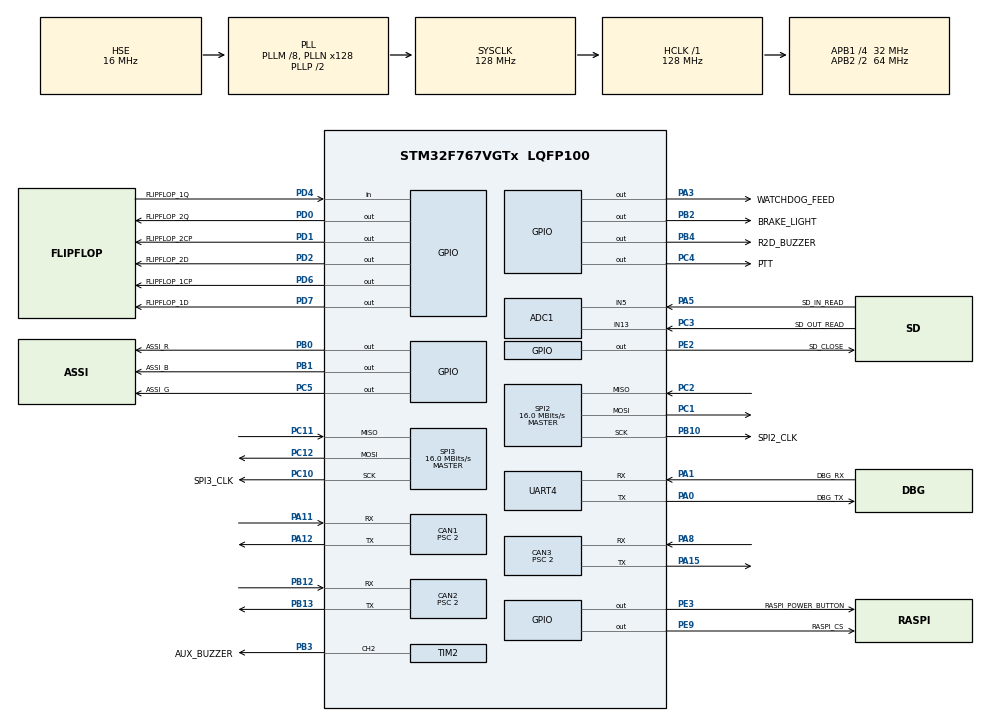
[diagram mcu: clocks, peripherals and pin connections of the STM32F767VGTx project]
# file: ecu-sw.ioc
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ADC1.Channel-5\#ChannelRegularConversion=ADC_CHANNEL_5
ADC1.Channel-6\#ChannelRegularConversion=ADC_CHANNEL_13
ADC1.NbrOfConversion=2
ADC1.NbrOfConversionFlag=1
ADC1.Rank-5\#ChannelRegularConversion=1
ADC1.Rank-6\#ChannelRegularConversion=2
ADC1.SamplingTime-5\#ChannelRegularConversion=ADC_SAMPLETIME_15CYCLES
ADC1.SamplingTime-6\#ChannelRegularConversion=ADC_SAMPLETIME_15CYCLES
ADC1.ScanConvMode=ADC_SCAN_ENABLE
ADC1.master=1
CAN1.BS1=CAN_BS1_13TQ
CAN1.BS2=CAN_BS2_2TQ
CAN1.CalculateBaudRate=1000000
CAN1.CalculateTimeBit=1000
CAN1.CalculateTimeQuantum=62.5
CAN1.Prescaler=2
CAN2.BS1=CAN_BS1_13TQ
CAN2.BS2=CAN_BS2_2TQ
CAN2.CalculateBaudRate=1000000
CAN2.CalculateTimeBit=1000
CAN2.CalculateTimeQuantum=62.5
CAN2.Prescaler=2
CAN3.BS1=CAN_BS1_13TQ
CAN3.BS2=CAN_BS2_2TQ
CAN3.CalculateBaudRate=1000000
CAN3.CalculateTimeBit=1000
CAN3.CalculateTimeQuantum=62.5
CAN3.Prescaler=2
CORTEX_M7.default_mode_Activation=1
Dma.ADC1.0.Direction=DMA_PERIPH_TO_MEMORY
Dma.ADC1.0.FIFOMode=DMA_FIFOMODE_DISABLE
Dma.ADC1.0.Instance=DMA2_Stream0
Dma.ADC1.0.MemDataAlignment=DMA_MDATAALIGN_HALFWORD
Dma.ADC1.0.MemInc=DMA_MINC_ENABLE
Dma.ADC1.0.Mode=DMA_NORMAL
Dma.ADC1.0.PeriphDataAlignment=DMA_PDATAALIGN_HALFWORD
Dma.ADC1.0.PeriphInc=DMA_PINC_DISABLE
Dma.ADC1.0.Priority=DMA_PRIORITY_LOW
Dma.Request0=ADC1
Mcu.Family=STM32F7
Mcu.Name=STM32F767VGTx
Mcu.Package=LQFP100
NVIC.ADC_IRQn=true\:0\:0\:false\:false\:true\:true\:true\:true
NVIC.CAN1_RX0_IRQn=true\:0\:0\:false\:false\:true\:true\:true\:true
NVIC.CAN1_RX1_IRQn=true\:0\:0\:false\:false\:true\:true\:true\:true
NVIC.CAN1_TX_IRQn=true\:0\:0\:false\:false\:true\:true\:true\:true
NVIC.CAN2_RX0_IRQn=true\:0\:0\:false\:false\:true\:true\:true\:true
NVIC.CAN2_RX1_IRQn=true\:0\:0\:false\:false\:true\:true\:true\:true
NVIC.CAN2_TX_IRQn=true\:0\:0\:false\:false\:true\:true\:true\:true
NVIC.CAN3_RX0_IRQn=true\:0\:0\:false\:false\:true\:true\:true\:true
NVIC.CAN3_RX1_IRQn=true\:0\:0\:false\:false\:true\:true\:true\:true
NVIC.CAN3_TX_IRQn=true\:0\:0\:false\:false\:true\:true\:true\:true
NVIC.DMA2_Stream0_IRQn=true\:0\:0\:false\:false\:true\:false\:true\:true
NVIC.PriorityGroup=NVIC_PRIORITYGROUP_4
NVIC.SPI2_IRQn=true\:0\:0\:false\:false\:true\:true\:true\:true
NVIC.SPI3_IRQn=true\:0\:0\:false\:false\:true\:true\:true\:true
NVIC.TIM2_IRQn=true\:0\:0\:false\:false\:true\:true\:true\:true
NVIC.UART4_IRQn=true\:0\:0\:false\:false\:true\:true\:true\:true
PA0/WKUP.GPIO_Label=DBG_TX
PA0/WKUP.Mode=Asynchronous
PA0/WKUP.Signal=UART4_TX
PA1.GPIO_Label=DBG_RX
PA1.Mode=Asynchronous
PA1.Signal=UART4_RX
PA11.Mode=CAN_Activate
PA11.Signal=CAN1_RX
PA12.Mode=CAN_Activate
PA12.Signal=CAN1_TX
PA13.Mode=Serial_Wire
PA13.Signal=SYS_JTMS-SWDIO
PA14.Mode=Serial_Wire
PA14.Signal=SYS_JTCK-SWCLK
PA15.Mode=CAN_Activate
PA15.Signal=CAN3_TX
PA3.GPIO_Label=WATCHDOG_FEED
PA3.Signal=GPIO_Output
PA5.GPIO_Label=SD_IN_READ
PA5.Signal=ADCx_IN5
PA8.Mode=CAN_Activate
PA8.Signal=CAN3_RX
PB0.GPIO_Label=ASSI_R
PB0.Signal=GPIO_Output
PB1.GPIO_Label=ASSI_B
PB1.Signal=GPIO_Output
PB10.GPIO_Label=SPI2_CLK
PB10.Mode=Full_Duplex_Master
PB10.Signal=SPI2_SCK
PB12.Mode=CAN_Activate
PB12.Signal=CAN2_RX
PB13.Mode=CAN_Activate
PB13.Signal=CAN2_TX
PB2.GPIO_Label=BRAKE_LIGHT
PB2.Signal=GPIO_Output
PB3.GPIO_Label=AUX_BUZZER
PB3.Signal=S_TIM2_CH2
PB4.GPIO_Label=R2D_BUZZER
PB4.Signal=GPIO_Output
PC1.Mode=Full_Duplex_Master
PC1.Signal=SPI2_MOSI
PC10.GPIO_Label=SPI3_CLK
PC10.Mode=Full_Duplex_Master
PC10.Signal=SPI3_SCK
PC11.Mode=Full_Duplex_Master
PC11.Signal=SPI3_MISO
PC12.Mode=Full_Duplex_Master
PC12.Signal=SPI3_MOSI
PC2.Mode=Full_Duplex_Master
PC2.Signal=SPI2_MISO
PC3.GPIO_Label=SD_OUT_READ
PC3.Signal=ADCx_IN13
PC4.GPIO_Label=PTT
PC4.Signal=GPIO_Output
PC5.GPIO_Label=ASSI_G
PC5.Signal=GPIO_Output
PD0.GPIO_Label=FLIPFLOP_2Q
PD0.PinState=GPIO_PIN_SET
PD0.Signal=GPIO_Output
PD1.GPIO_Label=FLIPFLOP_2CP
PD1.Signal=GPIO_Output
PD2.GPIO_Label=FLIPFLOP_2D
PD2.Signal=GPIO_Output
PD4.GPIO_Label=FLIPFLOP_1Q
PD4.GPIO_PuPd=GPIO_PULLDOWN
PD4.Signal=GPIO_Input
PD6.GPIO_Label=FLIPFLOP_1CP
PD6.Signal=GPIO_Output
PD7.GPIO_Label=FLIPFLOP_1D
PD7.Signal=GPIO_Output
PE2.GPIO_Label=SD_CLOSE
PE2.GPIO_PuPd=GPIO_PULLUP
PE2.Signal=GPIO_Output
PE3.GPIO_Label=RASPI_POWER_BUTTON
PE3.Signal=GPIO_Output
PE9.GPIO_Label=RASPI_CS
PE9.Signal=GPIO_Output
PH0/OSC_IN.Mode=HSE-External-Oscillator
PH0/OSC_IN.Signal=RCC_OSC_IN
PH1/OSC_OUT.Mode=HSE-External-Oscillator
PH1/OSC_OUT.Signal=RCC_OSC_OUT
ProjectManager.HeapSize=0x200
ProjectManager.StackSize=0x400
ProjectManager.TargetToolchain=Makefile
RCC.AHBFreq_Value=128000000
RCC.APB1CLKDivider=RCC_HCLK_DIV4
RCC.APB1Freq_Value=32000000
RCC.APB1TimFreq_Value=64000000
RCC.APB2CLKDivider=RCC_HCLK_DIV2
RCC.APB2Freq_Value=64000000
RCC.APB2TimFreq_Value=128000000
RCC.CortexFreq_Value=128000000
RCC.HCLKFreq_Value=128000000
RCC.HSE_VALUE=16000000
RCC.HSI_VALUE=16000000
RCC.LSE_VALUE=32768
RCC.PLLM=8
RCC.PLLN=128
RCC.PLLSourceVirtual=RCC_PLLSOURCE_HSE
RCC.SYSCLKFreq_VALUE=128000000
RCC.SYSCLKSource=RCC_SYSCLKSOURCE_PLLCLK
RCC.USBFreq_Value=128000000
RCC.VCOOutputFreq_Value=256000000
SH.ADCx_IN13.0=ADC1_IN13,IN13
SH.ADCx_IN5.0=ADC1_IN5,IN5
SH.S_TIM2_CH2.0=TIM2_CH2,PWM Generation2 CH2
SPI2.CalculateBaudRate=16.0 MBits/s
SPI2.DataSize=SPI_DATASIZE_8BIT
SPI2.Direction=SPI_DIRECTION_2LINES
SPI2.Mode=SPI_MODE_MASTER
SPI2.VirtualType=VM_MASTER
SPI3.CalculateBaudRate=16.0 MBits/s
SPI3.Direction=SPI_DIRECTION_2LINES
SPI3.Mode=SPI_MODE_MASTER
SPI3.VirtualType=VM_MASTER
TIM2.Channel-PWM\ Generation2\ CH2=TIM_CHANNEL_2
VP_TIM2_VS_ClockSourceINT.Mode=Internal
board=custom

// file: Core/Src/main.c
/* USER CODE BEGIN Header */
/**
  ******************************************************************************
  * @file           : main.c
  * @brief          : Main program body
  ******************************************************************************
  * @attention
  *
  * Copyright (c) 2025 STMicroelectronics.
  * All rights reserved.
  *
  * This software is licensed under terms that can be found in the LICENSE file
  * in the root directory of this software component.
  * If no LICENSE file comes with this software, it is provided AS-IS.
  *
  ******************************************************************************
  */
/* USER CODE END Header */
#include "main.h"
#include "adc.h"
#include "can.h"
#include "dma.h"
#include "logger.h"
#include "spi.h"
#include "stm32f7xx_hal.h"
#include "tim.h"
#include "usart.h"
#include "gpio.h"

/* USER CODE BEGIN Includes */
#include "arena-allocator-api.h"
#include "fsm.h"
#include "eagletrt-api.h"
#include "can-communication-router-api.h"
#include "shutdown-api.h"
#include "buzzer-api.h"
#include "logger-api.h"
#include "post.h"
#include <stdint.h>
/* USER CODE END Includes */

/* USER CODE BEGIN PD */
//TODO: Would be better to move the defines into a configuration file (e.g. ecu-config.h)
#define LOGGER_ENABLED (true)          /*!< Logger status: true to enable active logging, false to mute entirely. */
#define LOGGER_RX_CAPACITY (1U)        /*!< Receive queue depth. Set to 1 because the logger is transmit-only but needs to be > 0 because of arena allocator. */
#define LOGGER_TX_CAPACITY (10U)       /*!< Maximum number of log message packets allowed to sit in the outbound transmission queue. */
#define LOGGER_UART_MAX_MSG_SIZE (64U) /*!< Maximum allocation allowed for an individual log string. */
/* USER CODE END PD */

/* USER CODE BEGIN PV */
EAGLETRT_STATIC struct ArenaAllocatorHandler arena_allocator_handler;
EAGLETRT_STATIC struct PalHandler logger_pal_handler;
/* USER CODE END PV */

void SystemClock_Config(void);
static void MPU_Config(void);

/* USER CODE BEGIN 0 */
EAGLETRT_STATIC void VectorBase_Config(void) {
    /* The constant array with vectors of the vector table is declared externally in the
  * c-startup code.
  */
    extern const unsigned long g_pfnVectors[];

    /* Remap the vector table to where the vector table is located for this program. */
    SCB->VTOR = (unsigned long)&g_pfnVectors[0];
}

/*!
 * \brief Initializes the low-level memory allocation and logging framework.
 */
EAGLETRT_STATIC void prv_main_init_logging_configuration() {
    arena_allocator_api_init(&arena_allocator_handler);

    EAGLETRT_API_UNUSED(pal_api_init(&logger_pal_handler,
                                     LOGGER_RX_CAPACITY,
                                     LOGGER_TX_CAPACITY,
                                     LOGGER_UART_MAX_MSG_SIZE,
                                     NULL,
                                     usart_logger_transmit,
                                     NULL,
                                     NULL,
                                     &arena_allocator_handler));
}
/* USER CODE END 0 */

int main(void) {

    /* USER CODE BEGIN 1 */
    VectorBase_Config();
    /* USER CODE END 1 */

    /* MPU Configuration--------------------------------------------------------*/
    MPU_Config();

    /* MCU Configuration--------------------------------------------------------*/

    /* Reset of all peripherals, Initializes the Flash interface and the Systick. */
    HAL_Init();

    /* Configure the system clock */
    SystemClock_Config();

    /* Initialize all configured peripherals */
    MX_GPIO_Init();
    MX_DMA_Init();
    MX_CAN1_Init();
    MX_CAN2_Init();
    MX_CAN3_Init();
    MX_UART4_Init();
    MX_TIM2_Init();
    MX_SPI2_Init();
    MX_SPI3_Init();
    MX_ADC1_Init();
    /* USER CODE BEGIN 2 */

    // Initialize LOGGER configuration --------------------------------------------------
    // If logger fails to initialize, keep going as it shouldn't compromise the behavior of the entire car
    prv_main_init_logging_configuration();
    EAGLETRT_API_UNUSED(logger_api_init(&logger_pal_handler, LOGGER_ENABLED));
    // end of LOGGER configuration ------------------------------------------------------

    // Initialize POST configuration ----------------------------------------------------
    logger_api_log(LOGGER_LEVEL_DEBUG, "Initialize POST");

    // Buzzer configuration ----------------------------------------------------
    buzzer_on_callback buzzer_ons[BUZZER_TYPE_COUNT] = { gpio_buzzer_on, tim_buzzer_on };
    buzzer_off_callback buzzer_offs[BUZZER_TYPE_COUNT] = { gpio_buzzer_off, tim_buzzer_off };
    buzzer_delay_callback buzzer_syncs[BUZZER_TYPE_COUNT] = { gpio_buzzer_play_sync, tim_buzzer_play_sync };
    buzzer_tick_callback buzzer_ticks[BUZZER_TYPE_COUNT] = { HAL_GetTick, HAL_GetTick };

    // --- CAN communication configuration ---
    struct PostConfig post_configuration = {
        .can_networks = {
            [CAN_COMMUNICATION_NETWORK_PRIMARY] = {
                .send = can_send_primary,
                .on_receive = can_communication_router_api_receive_primary,
                .cs_enter = __disable_irq,
                .cs_exit = __enable_irq,
            },
            [CAN_COMMUNICATION_NETWORK_SECONDARY] = {
                .send = can_send_secondary,
                .on_receive = can_communication_router_api_receive_secondary,
                .cs_enter = __disable_irq,
                .cs_exit = __enable_irq,
            },
            [CAN_COMMUNICATION_NETWORK_INVERTER] = {
                .send = can_send_inverter,
                .on_receive = can_communication_router_api_receive_inverter,
                .cs_enter = __disable_irq,
                .cs_exit = __enable_irq,
            } },

        // Direct assignment of single members during initialization
        .as_air_release = can_air_release_from_line,
        .raspberry_pin_control = gpio_raspberry_set_pin,
        .raspberry_initial_state = RASPBERRY_CONTROL_PIN_STATE_ON,
        .shutdown_control_relay = gpio_shutdown_control_relay,
        .pedals_get_tick = HAL_GetTick,
        .tsac_get_tick = HAL_GetTick,
        .inverters_get_tick = HAL_GetTick,
        .vehicle_ptt_control = gpio_set_ptt,
        .lights_set_state = gpio_set_light_state,
    };

    // Populate buzzer configuration arrays
    for (size_t i = 0; i < (size_t)BUZZER_TYPE_COUNT; i++) {
        post_configuration.buzzer_on_ptrs[i] = buzzer_ons[i];
        post_configuration.buzzer_off_ptrs[i] = buzzer_offs[i];
        post_configuration.buzzer_delay_ptrs[i] = buzzer_syncs[i];
        post_configuration.buzzer_tick_ptrs[i] = buzzer_ticks[i];
    }
    // end of POST configuration --------------------------------------------------------

    HAL_CAN_Start(&hcan1);
    HAL_CAN_Start(&hcan2);
    HAL_CAN_Start(&hcan3);

    // single call run_state to verify POST
    fsm_init();
    fsm_run(&post_configuration);

    // enable can interrupts
    HAL_CAN_ActivateNotification(&hcan1, CAN_IT_RX_FIFO0_MSG_PENDING);
    HAL_CAN_ActivateNotification(&hcan1, CAN_IT_RX_FIFO1_MSG_PENDING);
    HAL_CAN_ActivateNotification(&hcan2, CAN_IT_RX_FIFO0_MSG_PENDING);
    HAL_CAN_ActivateNotification(&hcan2, CAN_IT_RX_FIFO1_MSG_PENDING);
    HAL_CAN_ActivateNotification(&hcan3, CAN_IT_RX_FIFO0_MSG_PENDING);
    HAL_CAN_ActivateNotification(&hcan3, CAN_IT_RX_FIFO1_MSG_PENDING);

    struct FsmData fsm_data;

    /* USER CODE END 2 */

    /* Infinite loop */
    /* USER CODE BEGIN WHILE */
    uint32_t t = HAL_GetTick();
    while (1) {
        if (HAL_GetTick() - t >= 100) {
            start_adc_conversion();
            t = HAL_GetTick();
        }
        /* USER CODE END WHILE */

        /* USER CODE BEGIN 3 */

        fsm_data.tick = HAL_GetTick();

        //run the fsm
        fsm_run(&fsm_data);

        // Service the asynchronous buzzers once per loop, regardless of FSM state.
        // Sounds are triggered elsewhere with buzzer_api_request()
        buzzer_api_poll(BUZZER_TYPE_R2D);
        buzzer_api_poll(BUZZER_TYPE_ASSI);
    }
    /* USER CODE END 3 */
}

void SystemClock_Config(void) {
    RCC_OscInitTypeDef RCC_OscInitStruct = { 0 };
    RCC_ClkInitTypeDef RCC_ClkInitStruct = { 0 };

    /** Configure the main internal regulator output voltage
  */
    __HAL_RCC_PWR_CLK_ENABLE();
    __HAL_PWR_VOLTAGESCALING_CONFIG(PWR_REGULATOR_VOLTAGE_SCALE3);

    /** Initializes the RCC Oscillators according to the specified parameters
  * in the RCC_OscInitTypeDef structure.
  */
    RCC_OscInitStruct.OscillatorType = RCC_OSCILLATORTYPE_HSE;
    RCC_OscInitStruct.HSEState = RCC_HSE_ON;
    RCC_OscInitStruct.PLL.PLLState = RCC_PLL_ON;
    RCC_OscInitStruct.PLL.PLLSource = RCC_PLLSOURCE_HSE;
    RCC_OscInitStruct.PLL.PLLM = 8;
    RCC_OscInitStruct.PLL.PLLN = 128;
    RCC_OscInitStruct.PLL.PLLP = RCC_PLLP_DIV2;
    RCC_OscInitStruct.PLL.PLLQ = 2;
    RCC_OscInitStruct.PLL.PLLR = 2;
    if (HAL_RCC_OscConfig(&RCC_OscInitStruct) != HAL_OK) {
        Error_Handler();
    }

    /** Initializes the CPU, AHB and APB buses clocks
  */
    RCC_ClkInitStruct.ClockType = RCC_CLOCKTYPE_HCLK | RCC_CLOCKTYPE_SYSCLK | RCC_CLOCKTYPE_PCLK1 | RCC_CLOCKTYPE_PCLK2;
    RCC_ClkInitStruct.SYSCLKSource = RCC_SYSCLKSOURCE_PLLCLK;
    RCC_ClkInitStruct.AHBCLKDivider = RCC_SYSCLK_DIV1;
    RCC_ClkInitStruct.APB1CLKDivider = RCC_HCLK_DIV4;
    RCC_ClkInitStruct.APB2CLKDivider = RCC_HCLK_DIV2;

    if (HAL_RCC_ClockConfig(&RCC_ClkInitStruct, FLASH_LATENCY_4) != HAL_OK) {
        Error_Handler();
    }
}

/* MPU Configuration */

void MPU_Config(void) {
    MPU_Region_InitTypeDef MPU_InitStruct = { 0 };

    /* Disables the MPU */
    HAL_MPU_Disable();

    /** Initializes and configures the Region and the memory to be protected
  */
    MPU_InitStruct.Enable = MPU_REGION_ENABLE;
    MPU_InitStruct.Number = MPU_REGION_NUMBER0;
    MPU_InitStruct.BaseAddress = 0x0;
    MPU_InitStruct.Size = MPU_REGION_SIZE_4GB;
    MPU_InitStruct.SubRegionDisable = 0x87;
    MPU_InitStruct.TypeExtField = MPU_TEX_LEVEL0;
    MPU_InitStruct.AccessPermission = MPU_REGION_NO_ACCESS;
    MPU_InitStruct.DisableExec = MPU_INSTRUCTION_ACCESS_DISABLE;
    MPU_InitStruct.IsShareable = MPU_ACCESS_SHAREABLE;
    MPU_InitStruct.IsCacheable = MPU_ACCESS_NOT_CACHEABLE;
    MPU_InitStruct.IsBufferable = MPU_ACCESS_NOT_BUFFERABLE;

    HAL_MPU_ConfigRegion(&MPU_InitStruct);
    /* Enables the MPU */
    HAL_MPU_Enable(MPU_PRIVILEGED_DEFAULT);
}

void Error_Handler(void) {
    __disable_irq();
    while (1) {
    }
}
